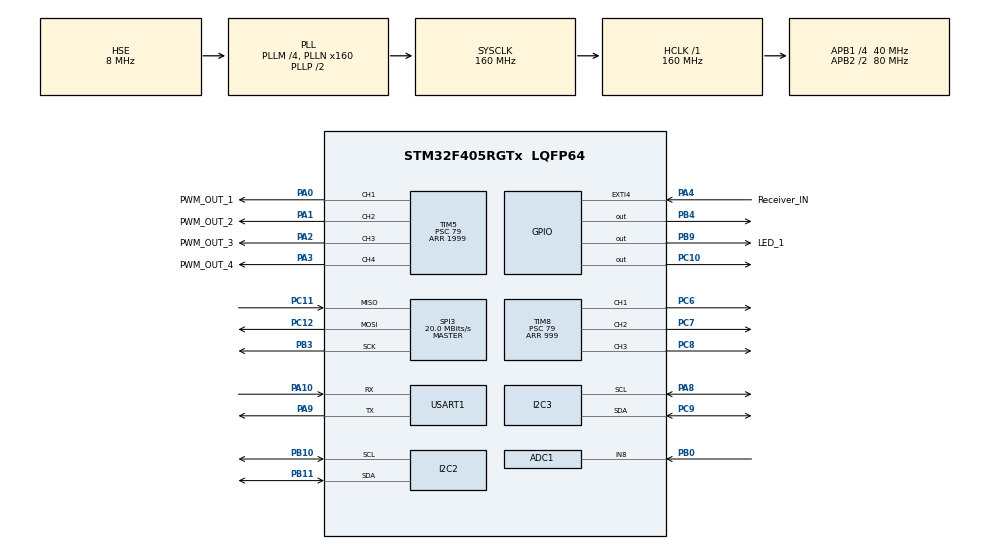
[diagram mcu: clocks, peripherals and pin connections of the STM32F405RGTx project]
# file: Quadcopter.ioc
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ADC1.Channel-0\#ChannelRegularConversion=ADC_CHANNEL_8
ADC1.NbrOfConversionFlag=1
ADC1.Rank-0\#ChannelRegularConversion=1
ADC1.SamplingTime-0\#ChannelRegularConversion=ADC_SAMPLETIME_3CYCLES
ADC1.master=1
Dma.Request0=USART1_RX
Dma.Request1=USART1_TX
Dma.USART1_RX.0.Direction=DMA_PERIPH_TO_MEMORY
Dma.USART1_RX.0.FIFOMode=DMA_FIFOMODE_DISABLE
Dma.USART1_RX.0.Instance=DMA2_Stream2
Dma.USART1_RX.0.MemDataAlignment=DMA_MDATAALIGN_BYTE
Dma.USART1_RX.0.MemInc=DMA_MINC_ENABLE
Dma.USART1_RX.0.Mode=DMA_CIRCULAR
Dma.USART1_RX.0.PeriphDataAlignment=DMA_PDATAALIGN_BYTE
Dma.USART1_RX.0.PeriphInc=DMA_PINC_DISABLE
Dma.USART1_RX.0.Priority=DMA_PRIORITY_LOW
Dma.USART1_TX.1.Direction=DMA_MEMORY_TO_PERIPH
Dma.USART1_TX.1.FIFOMode=DMA_FIFOMODE_DISABLE
Dma.USART1_TX.1.Instance=DMA2_Stream7
Dma.USART1_TX.1.MemDataAlignment=DMA_MDATAALIGN_BYTE
Dma.USART1_TX.1.MemInc=DMA_MINC_ENABLE
Dma.USART1_TX.1.Mode=DMA_CIRCULAR
Dma.USART1_TX.1.PeriphDataAlignment=DMA_PDATAALIGN_BYTE
Dma.USART1_TX.1.PeriphInc=DMA_PINC_DISABLE
Dma.USART1_TX.1.Priority=DMA_PRIORITY_LOW
Mcu.Family=STM32F4
Mcu.Name=STM32F405RGTx
Mcu.Package=LQFP64
NVIC.DMA2_Stream2_IRQn=true\:0\:0\:false\:false\:true\:false\:true
NVIC.DMA2_Stream7_IRQn=true\:0\:0\:false\:false\:true\:false\:true
NVIC.EXTI4_IRQn=true\:0\:0\:false\:false\:true\:true\:true
NVIC.PriorityGroup=NVIC_PRIORITYGROUP_4
NVIC.TIM3_IRQn=true\:0\:0\:false\:false\:true\:true\:true
NVIC.TIM4_IRQn=true\:0\:0\:false\:false\:true\:true\:true
NVIC.TIM8_CC_IRQn=true\:0\:0\:false\:false\:true\:true\:true
NVIC.USART1_IRQn=true\:0\:0\:false\:false\:true\:true\:true
PA0-WKUP.GPIO_Label=PWM_OUT_1
PA0-WKUP.GPIO_ModeDefaultPP=GPIO_MODE_AF_PP
PA0-WKUP.GPIO_PuPd=GPIO_PULLDOWN
PA0-WKUP.GPIO_Speed=GPIO_SPEED_FREQ_VERY_HIGH
PA0-WKUP.Signal=S_TIM5_CH1
PA1.GPIO_Label=PWM_OUT_2
PA1.GPIO_ModeDefaultPP=GPIO_MODE_AF_PP
PA1.GPIO_PuPd=GPIO_PULLDOWN
PA1.GPIO_Speed=GPIO_SPEED_FREQ_VERY_HIGH
PA1.Signal=S_TIM5_CH2
PA10.Mode=Asynchronous
PA10.Signal=USART1_RX
PA13.Mode=Serial_Wire
PA13.Signal=SYS_JTMS-SWDIO
PA14.Mode=Serial_Wire
PA14.Signal=SYS_JTCK-SWCLK
PA2.GPIO_Label=PWM_OUT_3
PA2.GPIO_ModeDefaultPP=GPIO_MODE_AF_PP
PA2.GPIO_PuPd=GPIO_PULLDOWN
PA2.GPIO_Speed=GPIO_SPEED_FREQ_VERY_HIGH
PA2.Signal=S_TIM5_CH3
PA3.GPIO_Label=PWM_OUT_4
PA3.GPIO_ModeDefaultPP=GPIO_MODE_AF_PP
PA3.GPIO_PuPd=GPIO_PULLDOWN
PA3.GPIO_Speed=GPIO_SPEED_FREQ_VERY_HIGH
PA3.Signal=S_TIM5_CH4
PA4.GPIO_Label=Receiver_IN
PA4.GPIO_ModeDefaultEXTI=GPIO_MODE_IT_RISING_FALLING
PA4.GPIO_PuPd=GPIO_PULLDOWN
PA4.Signal=GPXTI4
PA8.Mode=I2C
PA8.Signal=I2C3_SCL
PA9.Mode=Asynchronous
PA9.Signal=USART1_TX
PB0.Signal=ADCx_IN8
PB10.Mode=I2C
PB10.Signal=I2C2_SCL
PB11.Mode=I2C
PB11.Signal=I2C2_SDA
PB3.Mode=Full_Duplex_Master
PB3.Signal=SPI3_SCK
PB4.Signal=GPIO_Output
PB9.GPIO_Label=LED_1
PB9.Signal=GPIO_Output
PC10.Signal=GPIO_Output
PC11.Mode=Full_Duplex_Master
PC11.Signal=SPI3_MISO
PC12.Mode=Full_Duplex_Master
PC12.Signal=SPI3_MOSI
PC6.Signal=S_TIM8_CH1
PC7.Signal=S_TIM8_CH2
PC8.Signal=S_TIM8_CH3
PC9.Mode=I2C
PC9.Signal=I2C3_SDA
PH0-OSC_IN.Mode=HSE-External-Oscillator
PH0-OSC_IN.Signal=RCC_OSC_IN
PH1-OSC_OUT.Mode=HSE-External-Oscillator
PH1-OSC_OUT.Signal=RCC_OSC_OUT
ProjectManager.HeapSize=0x200
ProjectManager.StackSize=0x400
ProjectManager.TargetToolchain=MDK-ARM V5
RCC.48MHZClocksFreq_Value=80000000
RCC.AHBFreq_Value=160000000
RCC.APB1CLKDivider=RCC_HCLK_DIV4
RCC.APB1Freq_Value=40000000
RCC.APB1TimFreq_Value=80000000
RCC.APB2CLKDivider=RCC_HCLK_DIV2
RCC.APB2Freq_Value=80000000
RCC.APB2TimFreq_Value=160000000
RCC.CortexFreq_Value=160000000
RCC.HCLKFreq_Value=160000000
RCC.HSE_VALUE=8000000
RCC.HSI_VALUE=16000000
RCC.LSE_VALUE=32768
RCC.PLLM=4
RCC.PLLN=160
RCC.PLLSourceVirtual=RCC_PLLSOURCE_HSE
RCC.SYSCLKFreq_VALUE=160000000
RCC.SYSCLKSource=RCC_SYSCLKSOURCE_PLLCLK
RCC.VCOOutputFreq_Value=320000000
SH.ADCx_IN8.0=ADC1_IN8,IN8
SH.S_TIM5_CH1.0=TIM5_CH1,PWM Generation1 CH1
SH.S_TIM5_CH2.0=TIM5_CH2,PWM Generation2 CH2
SH.S_TIM5_CH3.0=TIM5_CH3,PWM Generation3 CH3
SH.S_TIM5_CH4.0=TIM5_CH4,PWM Generation4 CH4
SH.S_TIM8_CH1.0=TIM8_CH1,PWM Generation1 CH1
SH.S_TIM8_CH2.0=TIM8_CH2,PWM Generation2 CH2
SH.S_TIM8_CH3.0=TIM8_CH3,PWM Generation3 CH3
SPI3.BaudRatePrescaler=SPI_BAUDRATEPRESCALER_2
SPI3.CLKPhase=SPI_PHASE_1EDGE
SPI3.CalculateBaudRate=20.0 MBits/s
SPI3.DataSize=SPI_DATASIZE_8BIT
SPI3.Direction=SPI_DIRECTION_2LINES
SPI3.Mode=SPI_MODE_MASTER
SPI3.VirtualType=VM_MASTER
TIM3.Period=0xffff
TIM3.Prescaler=79
TIM4.Period=1999
TIM4.Prescaler=79
TIM5.Channel-PWM\ Generation1\ CH1=TIM_CHANNEL_1
TIM5.Channel-PWM\ Generation2\ CH2=TIM_CHANNEL_2
TIM5.Channel-PWM\ Generation3\ CH3=TIM_CHANNEL_3
TIM5.Channel-PWM\ Generation4\ CH4=TIM_CHANNEL_4
TIM5.Period=1999
TIM5.Prescaler=79
TIM8.Channel-PWM\ Generation1\ CH1=TIM_CHANNEL_1
TIM8.Channel-PWM\ Generation2\ CH2=TIM_CHANNEL_2
TIM8.Channel-PWM\ Generation3\ CH3=TIM_CHANNEL_3
TIM8.Period=999
TIM8.Prescaler=79
USART1.VirtualMode=VM_ASYNC
VP_TIM3_VS_ClockSourceINT.Mode=Internal
VP_TIM4_VS_ClockSourceINT.Mode=Internal
VP_TIM5_VS_ClockSourceINT.Mode=Internal
VP_TIM8_VS_ClockSourceINT.Mode=Internal
board=Quadcopter

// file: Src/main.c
/**
  ******************************************************************************
  * @file           : main.c
  * @brief          : Main program body
  ******************************************************************************
  ** This notice applies to any and all portions of this file
  * that are not between comment pairs USER CODE BEGIN and
  * USER CODE END. Other portions of this file, whether
  * inserted by the user or by software development tools
  * are owned by their respective copyright owners.
  *
  * COPYRIGHT(c) 2019 STMicroelectronics
  *
  * Redistribution and use in source and binary forms, with or without modification,
  * are permitted provided that the following conditions are met:
  *   1. Redistributions of source code must retain the above copyright notice,
  *      this list of conditions and the following disclaimer.
  *   2. Redistributions in binary form must reproduce the above copyright notice,
  *      this list of conditions and the following disclaimer in the documentation
  *      and/or other materials provided with the distribution.
  *   3. Neither the name of STMicroelectronics nor the names of its contributors
  *      may be used to endorse or promote products derived from this software
  *      without specific prior written permission.
  *
  * THIS SOFTWARE IS PROVIDED BY THE COPYRIGHT HOLDERS AND CONTRIBUTORS "AS IS"
  * AND ANY EXPRESS OR IMPLIED WARRANTIES, INCLUDING, BUT NOT LIMITED TO, THE
  * IMPLIED WARRANTIES OF MERCHANTABILITY AND FITNESS FOR A PARTICULAR PURPOSE ARE
  * DISCLAIMED. IN NO EVENT SHALL THE COPYRIGHT HOLDER OR CONTRIBUTORS BE LIABLE
  * FOR ANY DIRECT, INDIRECT, INCIDENTAL, SPECIAL, EXEMPLARY, OR CONSEQUENTIAL
  * DAMAGES (INCLUDING, BUT NOT LIMITED TO, PROCUREMENT OF SUBSTITUTE GOODS OR
  * SERVICES; LOSS OF USE, DATA, OR PROFITS; OR BUSINESS INTERRUPTION) HOWEVER
  * CAUSED AND ON ANY THEORY OF LIABILITY, WHETHER IN CONTRACT, STRICT LIABILITY,
  * OR TORT (INCLUDING NEGLIGENCE OR OTHERWISE) ARISING IN ANY WAY OUT OF THE USE
  * OF THIS SOFTWARE, EVEN IF ADVISED OF THE POSSIBILITY OF SUCH DAMAGE.
  *
  ******************************************************************************
  */
#include "main.h"
#include "stm32f4xx_hal.h"
#include "adc.h"
#include "dma.h"
#include "i2c.h"
#include "spi.h"
#include "tim.h"
#include "usart.h"
#include "gpio.h"

/* USER CODE BEGIN Includes */
#include "LED.h"
#include "PID.h"
#include "Math.h"
#include "eeprom.h"
#include "MS5611.h"
#include "Kalman.h"
#include "Battery.h"
#include "MPU9250.h"
#include "attitude.h"
#include "arm_math.h"

#include <stdio.h>
#include <string.h>
#include <stdarg.h>

#define Receiver_PWMMax 1915U
#define Receiver_PWMMin 1086U

#define Receiver_ideal_PWMMin 1000U
#define Receiver_ideal_PWMMax 2000U
/* USER CODE END Includes */

/* USER CODE BEGIN PV */
/* Private variables ---------------------------------------------------------*/

uint32_t throttle;
int8_t Fly_Start = 0; //飛行狀態

/*kalman 變數*/
struct Kalman kalmanX,kalmanY,kalmanZ;
float kalman_Pitch,kalman_Roll,kalman_Yaw;
float dt =0.004;

int16_t MPU9250_cal=0;
int8_t loop_10Hz_flag=0,loop_500Hz_flag=0,loop_100Hz_flag=0,loop_50Hz_flag=0;
int16_t Fly_flag=0;

char     Tx_buff[200]={0};
char 		 UART_Rx_buff[3]; //Receiver dma data
char     *temrxdata = UART_Rx_buff; //char 指標
uint8_t  UART_Rx_COUNT=0,UART_Rx_BUFFSIZE=3;

extern uint16_t R12D[12];

extern sensor IMU;
extern MPU9250 Gyro[3];
extern MPU9250 Accel[3];
extern MPU9250 Magn[3];
extern Data MS5611;

extern PID_TypeDef PID_Roll;
extern PID_TypeDef PID_Pitch;
extern PID_TypeDef PID_Yaw;
extern PID_TypeDef PID_Roll_Angle;
extern PID_TypeDef PID_Pitch_Angle;
extern PID_TypeDef PID_Yaw_Angle;

extern PID_TypeDef PID_Throttle;

extern ADC_battery Battery;

/************************************************/

float magn_tsst = 0;
extern float mx,my;
extern float MAG_pitch,MAG_roll;
extern float magn_zeroPoint;
extern uint8_t mag_zeroflag;
extern uint16_t magcal;
/************************************************/
float MS5611_actual_pressure, MS5611_actual_pressure_slow, MS5611_actual_pressure_fast, MS5611_actual_pressure_diff;
float MS5611_rotating_mem_actual;
int32_t MS5611_total_avarage,MS5611_rotating_mem[50];
uint8_t MS5611_rotating_mem_location,MS5611_Flag = 0,MS5611_D1_COUNT=0,MS5611_D2_COUNT=0;
uint8_t Auto_attitude_flag=0;

/************************************************/

extern float accelz[3];
float H,altit;

/* USER CODE END PV */

void SystemClock_Config(void);
void Main_meun(void);

/* USER CODE BEGIN PFP */
/* Private function prototypes -----------------------------------------------*/

/*UART副程式------------------------------------------------------------------*/
#ifdef __GNUC__
  /* With GCC/RAISONANCE, small printf (option LD Linker->Libraries->Small printf
     set to 'Yes') calls __io_putchar() */
  #define PUTCHAR_PROTOTYPE int __io_putchar(int ch)
#else
  #define PUTCHAR_PROTOTYPE int fputc(int ch, FILE *f)
#endif /* __GNUC__ */

/**
  * @brief  Retargets the C library printf function to the USART.
  * @param  None
  * @retval None
  */
PUTCHAR_PROTOTYPE
{

	/* Place your implementation of fputc here */
	/* e.g. write a character to the USART */
	HAL_UART_Transmit(&huart1, (uint8_t *)&ch, 1, 10);
	return ch;
 }

int _write(int file, char *ptr, int len)
{
	HAL_UART_Transmit_DMA(&huart1,(uint8_t *)ptr,len);
	return len;
}

/*----------------------------------------------------------------------------*/

/*UART DMA Rx 副程式*/
  void HAL_UART_RxCpltCallback(UART_HandleTypeDef *huart)
 {
	 if(huart==&huart1)
			{
				HAL_UART_Receive_DMA(huart,(uint8_t*)UART_Rx_buff,UART_Rx_BUFFSIZE);
			}
 }
/*---------------------------------------------------------------------------*/

/*UART DMA Printf 副程式*/
	int DMA_printf(UART_HandleTypeDef huart, const char * fmt,...)
{

	int printed;

	va_list args;

	va_start(args, fmt);

	printed = vsprintf((char *)Tx_buff,fmt,args);

	HAL_UART_Transmit_DMA(&huart,(uint8_t *)Tx_buff, printed);

	va_end(args);

	return printed;
}
/*---------------------------------------------------------------------------*/

/* USER CODE END PFP */

int main(void)
{

  /* MCU Configuration----------------------------------------------------------*/

  /* Reset of all peripherals, Initializes the Flash interface and the Systick. */
  HAL_Init();

  /* Configure the system clock */
  SystemClock_Config();

  /* Initialize all configured peripherals */
  MX_GPIO_Init();
  MX_DMA_Init();
  MX_ADC1_Init();
  MX_I2C2_Init();
  MX_I2C3_Init();
  MX_SPI3_Init();
  MX_TIM3_Init();
  MX_TIM5_Init();
  MX_TIM8_Init();
  MX_USART1_UART_Init();
  MX_TIM4_Init();
  /* USER CODE BEGIN 2 */

	/*開啟中斷副程式*/
	HAL_GPIO_WritePin(GPIOB,GPIO_PIN_9,GPIO_PIN_SET);
	HAL_GPIO_WritePin(GPIOC,GPIO_PIN_3,GPIO_PIN_SET);
	HAL_GPIO_WritePin(GPIOC,GPIO_PIN_10,GPIO_PIN_SET);

	/*4CH PWM Output*/
	HAL_TIM_PWM_Start(&htim5, TIM_CHANNEL_1);
	HAL_TIM_PWM_Start(&htim5, TIM_CHANNEL_2);
	HAL_TIM_PWM_Start(&htim5, TIM_CHANNEL_3);
	HAL_TIM_PWM_Start(&htim5, TIM_CHANNEL_4);
 	/*RGB*/
	HAL_TIM_PWM_Start(&htim8, TIM_CHANNEL_2);
	HAL_TIM_PWM_Start(&htim8, TIM_CHANNEL_3);
	HAL_TIM_PWM_Start(&htim8, TIM_CHANNEL_1);

	HAL_TIM_Base_Start_IT(&htim3);
	HAL_TIM_Base_Start_IT(&htim4);
	/*DMA RX Enable*/
	HAL_UART_Receive_DMA(&huart1,(uint8_t*)UART_Rx_buff,UART_Rx_BUFFSIZE);
	/*EEPROM 初始化*/
	HAL_FLASH_Unlock();
	EE_Set_Address();
	EE_Init();
	HAL_FLASH_Lock();

	/*初始化kalman*/
	Init(&kalmanX);
	Init(&kalmanY);
	Init(&kalmanZ);
	/*馬達歸零*/
	TIM5->CCR1 = 1000;
	TIM5->CCR2 = 1000;
	TIM5->CCR3 = 1000;
	TIM5->CCR4 = 1000;
	HAL_Delay(5);
	RGB(1000,100,1000);

	/*MPU9250初始化*/
	MPU9250_Configuration();

	/*MPU9250 Gyro校正*/
	while(MPU9250_cal<3001)
	{
		MPU9250_Gyro_calibr();
	}
	HAL_Delay(2000);
//	/*磁力計隼位校正*/
//	while(magcal<1001)
//	{
//		MPU9250_Magn_Levelcor();
//	}
	/*MS5611初始化*/
	MS5611_Write(MS5611_CMD_Reset);
	HAL_Delay(10);
	MS5611_init();
	HAL_Delay(2000);
	RGB(600,300,1000);

	HAL_Delay(2000);
	RGB(100,1000,1000);

	/*載入 Angle PID Gain*/
	Load_Angle_PID_Gain();
	/*載入 Angular Velocity PID Gain*/
	Load_Angular_Velocity_PID_Gain();

//	HAL_Delay(5500);
//	RGB(1000,1000,100);

//	HAL_Delay(5500);
//	RGB(1000,100,1000);

  /* USER CODE END 2 */
	/*Test *********************************************/
  Gyro[0].angle = 0;
	Gyro[1].angle = 0;
	Gyro[2].angle = 0;
	Magn[2].lastdata = 0;
	Gyro[0].lastdata = 0;
	Gyro[1].lastdata = 0;
	Gyro[2].lastdata = 0;

	Accel[0].lastdata = 0;
	Accel[1].lastdata = 0;
	Accel[2].lastdata = 0;

	/***************************************************/
  /* Infinite loop */
  /* USER CODE BEGIN WHILE */

  while (1)
  {
		if(loop_100Hz_flag==5  )//100Hz
		{
			if(Fly_Start == 0)
			{
				RGB(200,1000,600);
				Main_meun();
			}
			loop_100Hz_flag = 0;
		}
/*--------------------------------------------------------------------------------------------*/
    if(loop_500Hz_flag==2)//250Hz
		{

			loop_500Hz_flag = 0;

			/*kalman filter*/
			kalman_Pitch	= getAngle(&kalmanY,Accel[0].angle,Gyro[0].new_raw,0.004);
			kalman_Roll		= getAngle(&kalmanX,Accel[1].angle,Gyro[1].new_raw,0.004);

			/*油門正規化與限制油門輸出*/
			throttle = Receiver_ideal_PWMMin + (((Receiver_ideal_PWMMax-Receiver_ideal_PWMMin)/(Receiver_PWMMax-Receiver_PWMMin))*(R12D[2]-Receiver_PWMMin));
			if(throttle > 1800 )throttle = 1800;
/*--------------------------------------------------------------------------------------------*/
			if(MS5611_Flag == 2)
			{
				//Read MS5611 Dt and TEMP
				MS5611.Dt = MS5611.D2 - MS5611.C[5]*256;
				MS5611.TEMP = 2000+((MS5611.Dt/100)*(MS5611.C[6]/100)/83886.08)*100;

				//MS5611溫度補償
				if(MS5611.TEMP >=2000)
				{
					MS5611.OFF2 = 0;
					MS5611.SENS2 = 0;
				}
				else if (MS5611.TEMP < 2000)
				{
					MS5611.T2 = (MS5611.Dt*MS5611.Dt)/pow(2,31);
					MS5611.OFF2 = 5*(MS5611.TEMP-pow(2000,2))/2;
					MS5611.SENS2 = 5*pow((MS5611.TEMP-2000),2)/4;
				}
				//更新溫度資料
				MS5611.TEMP = MS5611.TEMP -MS5611.T2;
				MS5611.OFF = (((MS5611.C[2]/100)*655.35)*10000+(((MS5611.C[4]/100)*(MS5611.Dt/100))/1.28)*100)-MS5611.OFF2;
				MS5611.SENS = (((MS5611.C[1]/100)*327.68)*10000 +((MS5611.C[3]/100)*(MS5611.Dt/100)/2.56)*100)-MS5611.SENS2;
				MS5611.P = ((MS5611.D1 * MS5611.SENS/2097152)-MS5611.OFF)/32768;

				//平均濾波器
				MS5611_total_avarage -= MS5611_rotating_mem[MS5611_rotating_mem_location];
				MS5611_rotating_mem[MS5611_rotating_mem_location] = MS5611.P;
				MS5611_total_avarage += MS5611_rotating_mem[MS5611_rotating_mem_location];
				MS5611_rotating_mem_location++;

				if (MS5611_rotating_mem_location == 20)MS5611_rotating_mem_location = 0;
				MS5611_actual_pressure_fast = (float)MS5611_total_avarage / 20.0;
				MS5611_actual_pressure_slow = MS5611_actual_pressure_slow * (float)0.8 + MS5611_actual_pressure_fast * (float)0.2;
				MS5611_actual_pressure_diff = MS5611_actual_pressure_slow - MS5611_actual_pressure_fast;

				if (MS5611_actual_pressure_diff > 8)MS5611_actual_pressure_diff = 8;
				if (MS5611_actual_pressure_diff < -8)MS5611_actual_pressure_diff = -8;
				if (MS5611_actual_pressure_diff > 1 || MS5611_actual_pressure_diff < -1)MS5611_actual_pressure_slow -= MS5611_actual_pressure_diff / 6.0;

				MS5611_actual_pressure = MS5611_actual_pressure_slow;

				H = (MS5611_actual_pressure_fast/101325.0f);
				H = pow(H,0.190295f),
				altit = (44330.0f*(1.0f-H));

				MS5611_Flag = 0;
				MS5611_D1_COUNT = 0;
				MS5611_D2_COUNT = 0;
			}

/*--------------------------------------------------------------------------------------------*/
			PID_Roll_Angle.FB  = kalman_Roll;
			PID_Pitch_Angle.FB = kalman_Pitch;
			PID_Yaw_Angle.FB = Gyro[2].angle;

			PID_Pitch.FB = Gyro[0].new_raw;
			PID_Roll.FB  = Gyro[1].new_raw;
			PID_Yaw.FB   = Gyro[2].Lowpass_output;

			/*高度控制回授*/
 			PID_Throttle.FB = altit;

			/**/
			PID_Throttle.gain.p = 100;

			/*判斷解鎖條件*/
			if(R12D[2]<1100 && R12D[3]>1900 )
			{
				Fly_Start = 1;
				TIM5->CCR1=1000;
				TIM5->CCR2=1000;
				TIM5->CCR3=1000;
				TIM5->CCR4=1000;
				RGB(1000,1000,100);//藍色LED
			}
			/*確認搖桿回中*/
			if(Fly_Start == 1 && R12D[2]<1100 && R12D[3]<1550 )
			{
				Fly_flag=0;
				Fly_Start = 2;
				RGB(1000,100,100);//紫色LED

				/*PID-I Error 歸零*/
				/*Angular Velocity*/
				PID_Roll.error.i = 0;
				PID_Pitch.error.i = 0;
				PID_Yaw.error.i = 0;

				PID_Roll_Angle.error.i = 0;
				PID_Pitch_Angle.error.i = 0;
				PID_Yaw_Angle.error.i = 0;

				/*角度Lest_Error*/
				PID_Roll_Angle.lest_error.p = 0;
				PID_Pitch_Angle.lest_error.p = 0;
				PID_Yaw_Angle.lest_error.p = 0;

				/*角速度Leat_Error*/
				PID_Roll.lest_error.p = 0;
				PID_Pitch.lest_error.p = 0;
				PID_Yaw.lest_error.p = 0;

				Gyro[0].angle = 0;
				Gyro[1].angle = 0;
				Gyro[2].angle = 0;
			}
/*----判斷上鎖條件--------------------------------------------------------------------------------------------*/

		  /*遙控器上鎖*/
		  if(Fly_Start==2 && R12D[2]<1100 && R12D[3]<1100)
		  {
				Fly_Start = 0;
				TIM5->CCR1=1000;
				TIM5->CCR2=1000;
				TIM5->CCR3=1000;
				TIM5->CCR4=1000;
				RGB(1000,100,1000);//紅色LED
			}
		  /*超時上鎖*/
			if(Auto_attitude_flag==0)
			{
				if(Fly_Start==2 && R12D[2]<1100 && Fly_flag == 15000)
				{
					Fly_flag = 0;
					Fly_Start = 0;
					Gyro[2].angle = 0;
					TIM5->CCR1=1000;
					TIM5->CCR2=1000;
					TIM5->CCR3=1000;
					TIM5->CCR4=1000;
					RGB(1000,100,1000);//紅色LED
				}
			}
/*--------------------------------------------------------------------------------------------*/
			/*定高命令*/
			if(R12D[4]<1400)
			{
				PID_Throttle.Cmd = altit;
			}
/*--------------------------------------------------------------------------------------------*/
			/*pitch & roll角度命令 */
			PID_Pitch_Angle.Cmd = 0;
			if(R12D[1] > 1520)PID_Pitch_Angle.Cmd = ((R12D[1]-1520)*0.083);
			else if(R12D[1] < 1480)PID_Pitch_Angle.Cmd = ((R12D[1]-1480)*0.083);

			PID_Roll_Angle.Cmd = 0;
			if(R12D[0] > 1520)PID_Roll_Angle.Cmd = ((R12D[0]-1520)*0.083);
			else if(R12D[0] < 1480)PID_Roll_Angle.Cmd = ((R12D[0]-1480)*0.083);

			/*yaw角速度命令 */
			PID_Yaw_Angle.Cmd = 0;
			if(R12D[2] > 1200)
			{
				if(R12D[3] > 1520)PID_Yaw_Angle.Cmd = ((R12D[3]-1520)*0.083);
				else if(R12D[3] < 1480)PID_Yaw_Angle.Cmd = ((R12D[3]-1480)*0.083);
			}

			/*pitch & roll角度PID運算*/
			PID_Angle_controller(&PID_Roll_Angle);
			PID_Angle_controller(&PID_Pitch_Angle);
			PID_Angle_controller(&PID_Yaw_Angle);
			/*pitch & roll角速度命令*/
			PID_Pitch.Cmd = PID_Pitch_Angle.output;
			PID_Roll.Cmd = PID_Roll_Angle.output;
			PID_Yaw.Cmd = PID_Yaw_Angle.output;
			/*pitch & roll & yaw 角速度PID運算*/
			PID_controller(&PID_Roll);
			PID_controller(&PID_Pitch);
		  PID_controller(&PID_Yaw);

			/*高度PID*/
			PID_Throttle_controller(&PID_Throttle);

/*--------------------------------------------------------------------------------------------*/
			if(Fly_Start == 2)
			{
				Fly_flag++;

				/*判斷是否進入定高模式*/
				if(R12D[4]>1600)
				{
					Auto_attitude_flag = 1;
					throttle = throttle + PID_Throttle.output;
				}
				else if(R12D[4]<1600)
				{
					Auto_attitude_flag = 0;
					PID_Throttle.output = 0;
					throttle = throttle;
				}
//				/*油門電壓補償*/
//				if(Battery.Voltage <= 12.6f && Battery.Voltage > 11.1f)
//				{
//					throttle = throttle + (throttle*((11.1f - Battery.Voltage)/45.0f));
//				}
//				else if (Battery.Voltage < 11.1f && Battery.Voltage > 8.0f)
//				{
//					throttle = throttle + (throttle*((11.1f - Battery.Voltage)/20.0f));
//				}

				/*馬達PWM輸出*/
				TIM5->CCR1 = (int16_t)(throttle + PID_Pitch.output - PID_Roll.output + PID_Yaw.output);
				TIM5->CCR3 = (int16_t)(throttle - PID_Pitch.output - PID_Roll.output - PID_Yaw.output);
				TIM5->CCR4 = (int16_t)(throttle - PID_Pitch.output + PID_Roll.output + PID_Yaw.output);
				TIM5->CCR2 = (int16_t)(throttle + PID_Pitch.output + PID_Roll.output - PID_Yaw.output);

				/*設置PWM最大值與最小值*/
				if(TIM5->CCR1 <1100) TIM5->CCR1 = 1100;
				if(TIM5->CCR2 <1100) TIM5->CCR2 = 1100;
				if(TIM5->CCR3 <1100) TIM5->CCR3 = 1100;
				if(TIM5->CCR4 <1100) TIM5->CCR4 = 1100;

				if(TIM5->CCR1 >2000) TIM5->CCR1 = 2000;
				if(TIM5->CCR2 >2000) TIM5->CCR2 = 2000;
				if(TIM5->CCR3 >2000) TIM5->CCR3 = 2000;
				if(TIM5->CCR4 >2000) TIM5->CCR4 = 2000;
				/*數據*/

//				DMA_printf(huart1,"%8.2f\t %8.2f\t %8.2f\t %8.2f\t %8.2f\t %8.2f\t %8.2f\t %8.2f\t %8.2f\n"
//										,Accel[0].new_raw,Accel[1].new_raw,Accel[2].new_raw
//										,Gyro[0].new_raw,Gyro[1].new_raw,Gyro[2].new_raw
//										,Gyro[0].offset,Gyro[1].offset,Gyro[2].offset
//								);
				if(loop_50Hz_flag == 10)
				{
					loop_50Hz_flag = 0;
					DMA_printf(huart1,"%5.2f\t %5.2f\t %5.2f\t %5.2f\n"
					,kalman_Pitch,kalman_Roll,Gyro[2].angle,Battery.Voltage);
				}
			}
			else
			{
				TIM5->CCR1 = 1000;
				TIM5->CCR2 = 1000;
				TIM5->CCR3 = 1000;
				TIM5->CCR4 = 1000;
			}
			/*電壓偵測*/
			if(ADC_Vaule()<11.4f)
			{
//				if(Fly_Start == 2) RGB(700,1000,500);
			}
			else if(ADC_Vaule()>11.4f)
			{
//			 if(Fly_Start == 2) {RGB(1000,100,100);}
			}
/*--------------------------------------------------------------------------------------------*/

				if(loop_50Hz_flag == 10)
				{
					loop_50Hz_flag = 0;
					DMA_printf(huart1,"%5.2f\t %5.2f\t %5.2f\t %5.2f\n"
					,kalman_Pitch,kalman_Roll,Gyro[2].angle,Battery.Voltage);
				}
/*--------------------------------------------------------------------------------------------*/
			/*MS5611 Read D1*/
			if(MS5611_Flag == 0)
			{
				if(MS5611_D1_COUNT == 0) MS5611_Write(MS5611_D1_CONV_OSR_4096); //Read D1

				if(MS5611_D1_COUNT == 4)
				{
					MS5611_D1_COUNT = 0;
					MS5611_Flag++;
					MS5611.D1 = MS5611_Read_24Bit(MS5611_CMD_AD_Read);
				}
				MS5611_D1_COUNT++;
			}
			/*MS5611 Read D2*/
			if(MS5611_Flag == 1)
			{
				if(MS5611_D2_COUNT == 0) MS5611_Write(MS5611_D2_CONV_OSR_4096); //Read D2
				if(MS5611_D2_COUNT == 4)
				{
					MS5611.D2 = MS5611_Read_24Bit(MS5611_CMD_AD_Read);
					MS5611_D2_COUNT = 0;
					MS5611_Flag++;
				}
				MS5611_D2_COUNT++;
			}
/*--------------------------------------------------------------------------------------------*/

		}

  /* USER CODE END WHILE */
 }
}

void SystemClock_Config(void)
{

  RCC_OscInitTypeDef RCC_OscInitStruct;
  RCC_ClkInitTypeDef RCC_ClkInitStruct;

    /**Configure the main internal regulator output voltage
    */
  __HAL_RCC_PWR_CLK_ENABLE();

  __HAL_PWR_VOLTAGESCALING_CONFIG(PWR_REGULATOR_VOLTAGE_SCALE1);

    /**Initializes the CPU, AHB and APB busses clocks
    */
  RCC_OscInitStruct.OscillatorType = RCC_OSCILLATORTYPE_HSE;
  RCC_OscInitStruct.HSEState = RCC_HSE_ON;
  RCC_OscInitStruct.PLL.PLLState = RCC_PLL_ON;
  RCC_OscInitStruct.PLL.PLLSource = RCC_PLLSOURCE_HSE;
  RCC_OscInitStruct.PLL.PLLM = 4;
  RCC_OscInitStruct.PLL.PLLN = 160;
  RCC_OscInitStruct.PLL.PLLP = RCC_PLLP_DIV2;
  RCC_OscInitStruct.PLL.PLLQ = 4;
  if (HAL_RCC_OscConfig(&RCC_OscInitStruct) != HAL_OK)
  {
    _Error_Handler(__FILE__, __LINE__);
  }

    /**Initializes the CPU, AHB and APB busses clocks
    */
  RCC_ClkInitStruct.ClockType = RCC_CLOCKTYPE_HCLK|RCC_CLOCKTYPE_SYSCLK
                              |RCC_CLOCKTYPE_PCLK1|RCC_CLOCKTYPE_PCLK2;
  RCC_ClkInitStruct.SYSCLKSource = RCC_SYSCLKSOURCE_PLLCLK;
  RCC_ClkInitStruct.AHBCLKDivider = RCC_SYSCLK_DIV1;
  RCC_ClkInitStruct.APB1CLKDivider = RCC_HCLK_DIV4;
  RCC_ClkInitStruct.APB2CLKDivider = RCC_HCLK_DIV2;

  if (HAL_RCC_ClockConfig(&RCC_ClkInitStruct, FLASH_LATENCY_5) != HAL_OK)
  {
    _Error_Handler(__FILE__, __LINE__);
  }

    /**Configure the Systick interrupt time
    */
  HAL_SYSTICK_Config(HAL_RCC_GetHCLKFreq()/1000);

    /**Configure the Systick
    */
  HAL_SYSTICK_CLKSourceConfig(SYSTICK_CLKSOURCE_HCLK);

  /* SysTick_IRQn interrupt configuration */
  HAL_NVIC_SetPriority(SysTick_IRQn, 0, 0);
}

void _Error_Handler(char *file, int line)
{
  while(1)
  {
  }
}

/************************ (C) COPYRIGHT STMicroelectronics *****END OF FILE****/
